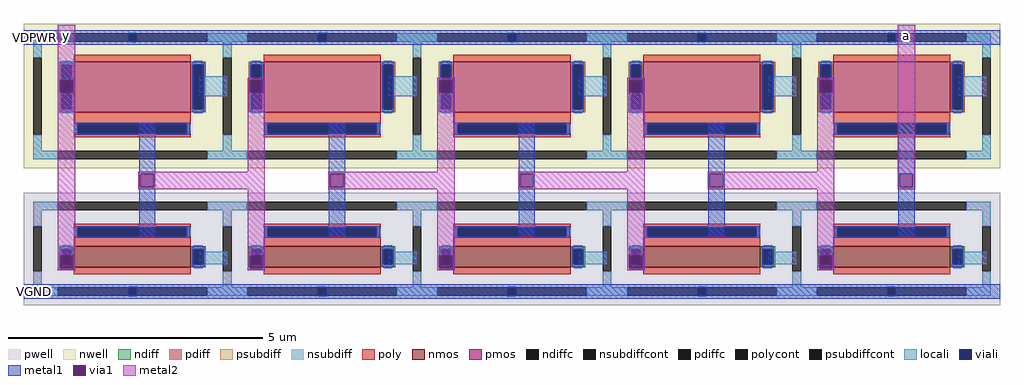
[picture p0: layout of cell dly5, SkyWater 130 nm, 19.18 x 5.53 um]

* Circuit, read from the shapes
.subckt dly5 a y VDPWR VGND
XM1 VGND XMN4/D y VGND sky130_fd_pr__nfet_01v8 w=0.42 l=2.3
XM2 VGND XMN3/D XMN4/D VGND sky130_fd_pr__nfet_01v8 w=0.42 l=2.3
XM3 VGND XMN2/D XMN3/D VGND sky130_fd_pr__nfet_01v8 w=0.42 l=2.3
XM4 VGND XMN1/D XMN2/D VGND sky130_fd_pr__nfet_01v8 w=0.42 l=2.3
XM5 VGND a XMN1/D VGND sky130_fd_pr__nfet_01v8 w=0.42 l=2.3
XM6 VDPWR XMN4/D y VDPWR sky130_fd_pr__pfet_01v8 w=1 l=2.3
XM7 VDPWR XMN3/D XMN4/D VDPWR sky130_fd_pr__pfet_01v8 w=1 l=2.3
XM8 VDPWR XMN2/D XMN3/D VDPWR sky130_fd_pr__pfet_01v8 w=1 l=2.3
XM9 VDPWR XMN1/D XMN2/D VDPWR sky130_fd_pr__pfet_01v8 w=1 l=2.3
XM10 VDPWR a XMN1/D VDPWR sky130_fd_pr__pfet_01v8 w=1 l=2.3
.ends

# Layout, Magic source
magic
tech sky130A
magscale 1 2
<< locali >>
rect 686 820 798 900
rect 1432 820 1544 900
rect 2178 820 2290 900
rect 2924 820 3036 900
rect 3670 820 3782 900
rect 686 160 798 210
rect 1432 160 1544 210
rect 2178 160 2290 210
rect 2924 160 3036 210
rect 3670 160 3782 210
<< viali >>
rect 409 1035 443 1069
rect 1155 1035 1189 1069
rect 1901 1035 1935 1069
rect 2647 1035 2681 1069
rect 3393 1035 3427 1069
rect 409 36 443 70
rect 1155 36 1189 70
rect 1901 36 1935 70
rect 2647 36 2681 70
rect 3393 36 3427 70
<< metal1 >>
rect 0 1069 3836 1080
rect 0 1035 409 1069
rect 443 1035 1155 1069
rect 1189 1035 1901 1069
rect 1935 1035 2647 1069
rect 2681 1035 3393 1069
rect 3427 1035 3836 1069
rect 0 1024 3836 1035
rect 141 886 193 892
rect 141 828 193 834
rect 887 886 939 892
rect 887 828 939 834
rect 1633 886 1685 892
rect 1633 828 1685 834
rect 2379 886 2431 892
rect 2379 828 2431 834
rect 3125 886 3177 892
rect 3125 828 3177 834
rect 452 516 516 716
rect 452 464 458 516
rect 510 464 516 516
rect 452 264 516 464
rect 1198 516 1262 716
rect 1198 464 1204 516
rect 1256 464 1262 516
rect 1198 264 1262 464
rect 1944 516 2008 716
rect 1944 464 1950 516
rect 2002 464 2008 516
rect 1944 264 2008 464
rect 2690 516 2754 716
rect 2690 464 2696 516
rect 2748 464 2754 516
rect 2690 264 2754 464
rect 3436 516 3500 716
rect 3436 464 3442 516
rect 3494 464 3500 516
rect 3436 264 3500 464
rect 141 196 193 202
rect 141 138 193 144
rect 887 196 939 202
rect 887 138 939 144
rect 1633 196 1685 202
rect 1633 138 1685 144
rect 2379 196 2431 202
rect 2379 138 2431 144
rect 3125 196 3177 202
rect 3125 138 3177 144
rect 0 70 3836 82
rect 0 36 409 70
rect 443 36 1155 70
rect 1189 36 1901 70
rect 1935 36 2647 70
rect 2681 36 3393 70
rect 3427 36 3836 70
rect 0 24 3836 36
<< via1 >>
rect 141 834 193 886
rect 887 834 939 886
rect 1633 834 1685 886
rect 2379 834 2431 886
rect 3125 834 3177 886
rect 458 464 510 516
rect 1204 464 1256 516
rect 1950 464 2002 516
rect 2696 464 2748 516
rect 3442 464 3494 516
rect 141 144 193 196
rect 887 144 939 196
rect 1633 144 1685 196
rect 2379 144 2431 196
rect 3125 144 3177 196
<< metal2 >>
rect 133 886 201 1100
rect 133 834 141 886
rect 193 834 201 886
rect 133 196 201 834
rect 879 886 947 894
rect 879 834 887 886
rect 939 834 947 886
rect 879 524 947 834
rect 1625 886 1693 894
rect 1625 834 1633 886
rect 1685 834 1693 886
rect 1625 524 1693 834
rect 2371 886 2439 894
rect 2371 834 2379 886
rect 2431 834 2439 886
rect 2371 524 2439 834
rect 3117 886 3185 894
rect 3117 834 3125 886
rect 3177 834 3185 886
rect 3117 524 3185 834
rect 450 516 947 524
rect 450 464 458 516
rect 510 464 947 516
rect 450 456 947 464
rect 1196 516 1693 524
rect 1196 464 1204 516
rect 1256 464 1693 516
rect 1196 456 1693 464
rect 1942 516 2439 524
rect 1942 464 1950 516
rect 2002 464 2439 516
rect 1942 456 2439 464
rect 2688 516 3185 524
rect 2688 464 2696 516
rect 2748 464 3185 516
rect 2688 456 3185 464
rect 3434 516 3502 1100
rect 3434 464 3442 516
rect 3494 464 3502 516
rect 3434 456 3502 464
rect 133 144 141 196
rect 193 144 201 196
rect 133 136 201 144
rect 879 196 947 456
rect 879 144 887 196
rect 939 144 947 196
rect 879 136 947 144
rect 1625 196 1693 456
rect 1625 144 1633 196
rect 1685 144 1693 196
rect 1625 136 1693 144
rect 2371 196 2439 456
rect 2371 144 2379 196
rect 2431 144 2439 196
rect 2371 136 2439 144
rect 3117 196 3185 456
rect 3117 144 3125 196
rect 3177 144 3185 196
rect 3117 136 3185 144
use sky130_fd_pr__nfet_01v8_RCGVBR  XMN1
transform 1 0 3410 0 1 221
box -426 -221 426 221
use sky130_fd_pr__nfet_01v8_RCGVBR  XMN2
transform 1 0 2664 0 1 221
box -426 -221 426 221
use sky130_fd_pr__nfet_01v8_RCGVBR  XMN3
transform 1 0 1918 0 1 221
box -426 -221 426 221
use sky130_fd_pr__nfet_01v8_RCGVBR  XMN4
transform 1 0 1172 0 1 221
box -426 -221 426 221
use sky130_fd_pr__nfet_01v8_RCGVBR  XMN5
transform 1 0 426 0 1 221
box -426 -221 426 221
use sky130_fd_pr__pfet_01v8_YCDXTQ  XMP1
transform 1 0 3410 0 1 821
box -426 -284 426 284
use sky130_fd_pr__pfet_01v8_YCDXTQ  XMP2
transform 1 0 2664 0 1 821
box -426 -284 426 284
use sky130_fd_pr__pfet_01v8_YCDXTQ  XMP3
transform 1 0 1918 0 1 821
box -426 -284 426 284
use sky130_fd_pr__pfet_01v8_YCDXTQ  XMP4
transform 1 0 1172 0 1 821
box -426 -284 426 284
use sky130_fd_pr__pfet_01v8_YCDXTQ  XMP5
transform 1 0 426 0 1 821
box -426 -284 426 284
<< labels >>
rlabel metal2 3434 1020 3502 1100 0 a
port 1 nsew
rlabel metal2 133 1020 201 1100 0 y
port 2 nsew
rlabel metal1 0 1024 80 1080 0 VDPWR
port 3 nsew
rlabel metal1 0 24 80 82 0 VGND
port 4 nsew
<< end >>

# cell sky130_fd_pr__nfet_01v8_RCGVBR: kit device sky130_fd_pr__nfet_01v8, w 0.42 l 2.3 m 1 nf 1 diffcov 100 polycov 100 guard 1 glc 1 grc 1 gtc 1 gbc 1 tbcov 100 rlcov 100 topc 1 botc 0 poverlap 0 doverlap 1 lmin 0.15 wmin 0.42 class mosfet compatible {sky130_fd_pr__nfet_01v8 sky130_fd_pr__nfet_01v8_lvt sky130_fd_bs_flash__special_sonosfet_star sky130_fd_pr__nfet_g5v0d10v5 sky130_fd_pr__nfet_05v0_nvt sky130_fd_pr__nfet_03v3_nvt} full_metal 1 conn_gates 0 viasrc 100 viadrn 100 viagate 100 viagb 0 viagr 0 viagl 0 viagt 0 doports 1

# cell sky130_fd_pr__pfet_01v8_YCDXTQ: kit device sky130_fd_pr__pfet_01v8, w 1 l 2.3 m 1 nf 1 diffcov 100 polycov 100 guard 1 glc 1 grc 1 gtc 1 gbc 1 tbcov 100 rlcov 100 topc 0 botc 1 poverlap 0 doverlap 1 lmin 0.15 wmin 0.42 class mosfet compatible {sky130_fd_pr__pfet_01v8 sky130_fd_pr__pfet_01v8_lvt sky130_fd_pr__pfet_01v8_hvt sky130_fd_pr__pfet_g5v0d10v5} full_metal 1 conn_gates 0 viasrc 100 viadrn 100 viagate 100 viagb 0 viagr 0 viagl 0 viagt 0 doports 1
